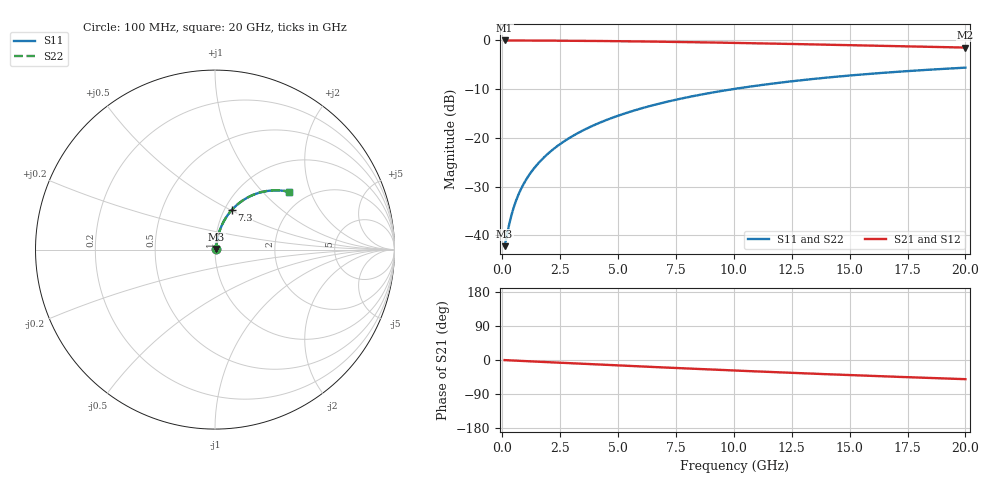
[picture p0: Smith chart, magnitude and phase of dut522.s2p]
! Touchstone file exported from HFSS 2026.1.0
!  File:  C:/ffzhzh/LocalFiles/Ansys_Project_Files/temp_train_TMRDL_522_1783007133_51716.aedt
!  Generated:  11:47:00 PM Jul  2, 2026
!  Design:  TMRDL
!  Project:  temp_train_TMRDL_522_1783007133_51716
! Variables:
!  h_bsmrdl = 2um
!  h_ox = 20um
!  h_rdl = 5um
!  h_sub = 80um
!  h_tmrdl = 2.09um
!  h_tsv = 80um
!  h_via = 3um
!  l_bsmrdl = 300um
!  l_sub = 1096.92um
!  l_tmrdl = 696.92um
!  m_sub = 200um
!  pitch = 52.74um
!  r_tsv = 6um
!  s_tmrdl = 10um
!  w_bsmrdl = 18um
!  w_sub = 500um
!  w_tmrdl = 17.8um
!  x_tsv_center1 = 705.82um
!  x_tsv_center2 = 1023.82um
!  x_tsv_center3 = 1738.54um
!  x_tsv_center4 = 2056.54um
!  x_tsv_center5 = 2771.26um
!  x_tsv_center6 = 3089.26um
# GHz S MA R 50.000000
! Terminal data exported
! Port[1] = TM_RDL1_1_T1
! Port[2] = TM_RDL1_1_T2
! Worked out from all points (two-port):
!   200 points, 100 MHz to 20 GHz, reference 50 ohm
!   highest |S21| = -0.06 dB at 100 MHz (marker M1); lowest = -1.5 dB at 20 GHz (marker M2)
!   |S21| within 3 dB of the highest: start of sweep to end of sweep
!   lowest |S11| = -42.2 dB at 100 MHz (marker M3), VSWR 1.02, Z = 50.7 + j0.371 ohm
!   |S11| at or under -10 dB: start of sweep to 10.01 GHz
!   |S22| runs from -42.2 to -5.6 dB; largest |S21 - S12| = 4.9e-15
!   S11 on the Smith chart (normalised r, x): 100 MHz: 1.01, +0.01; 7.3 GHz: 1.08, +0.51; 20 GHz: 1.62, +1.43
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0.1  0.007743 28.2  0.9932 -0.3  0.9932 -0.3  0.007743 28.2
! Gamma 0 0 0 0
! Port Impedance 50 0 50 0
0.3  0.01305 56.5  0.9929 -0.9  0.9929 -0.9  0.01305 56.5
0.4  0.01625 62.5  0.9927 -1.2  0.9927 -1.2  0.01625 62.5
0.5  0.01955 66.4  0.9925 -1.5  0.9925 -1.5  0.01955 66.4
0.6  0.02288 69.0  0.9922 -1.8  0.9922 -1.8  0.02288 69.0
0.7  0.02621 70.9  0.992 -2.1  0.992 -2.1  0.02621 70.9
0.9  0.03289 73.3  0.9915 -2.7  0.9915 -2.7  0.03289 73.3
1.2  0.04289 75.4  0.9909 -3.5  0.9909 -3.5  0.04289 75.4
1.4  0.04956 76.1  0.9904 -4.1  0.9904 -4.1  0.04956 76.1
1.7  0.05957 76.8  0.9897 -4.9  0.9897 -4.9  0.05957 76.8
2.2  0.07626 77.0  0.9884 -6.4  0.9884 -6.4  0.07626 77.0
2.8  0.09626 76.6  0.9865 -8.1  0.9865 -8.1  0.09626 76.6
3.5  0.1194 75.6  0.9838 -10.0  0.9838 -10.0  0.1194 75.6
4.2  0.1424 74.3  0.9806 -12.0  0.9806 -12.0  0.1424 74.3
5  0.1682 72.5  0.9764 -14.3  0.9764 -14.3  0.1682 72.5
6.8  0.2243 68.3  0.9647 -19.2  0.9647 -19.2  0.2243 68.3
7.3  0.2394 67.0  0.961 -20.6  0.961 -20.6  0.2394 67.1
8.6  0.2773 63.8  0.9505 -24.0  0.9505 -24.0  0.2773 63.9
10.1  0.3186 60.2  0.9372 -27.9  0.9372 -27.9  0.3186 60.2
13.4  0.3998 52.3  0.9051 -36.0  0.9051 -36.0  0.3998 52.3
16.7  0.4675 44.9  0.8718 -43.6  0.8718 -43.6  0.4675 45.0
20  0.5227 38.0  0.8399 -50.6  0.8399 -50.6  0.5227 38.1
